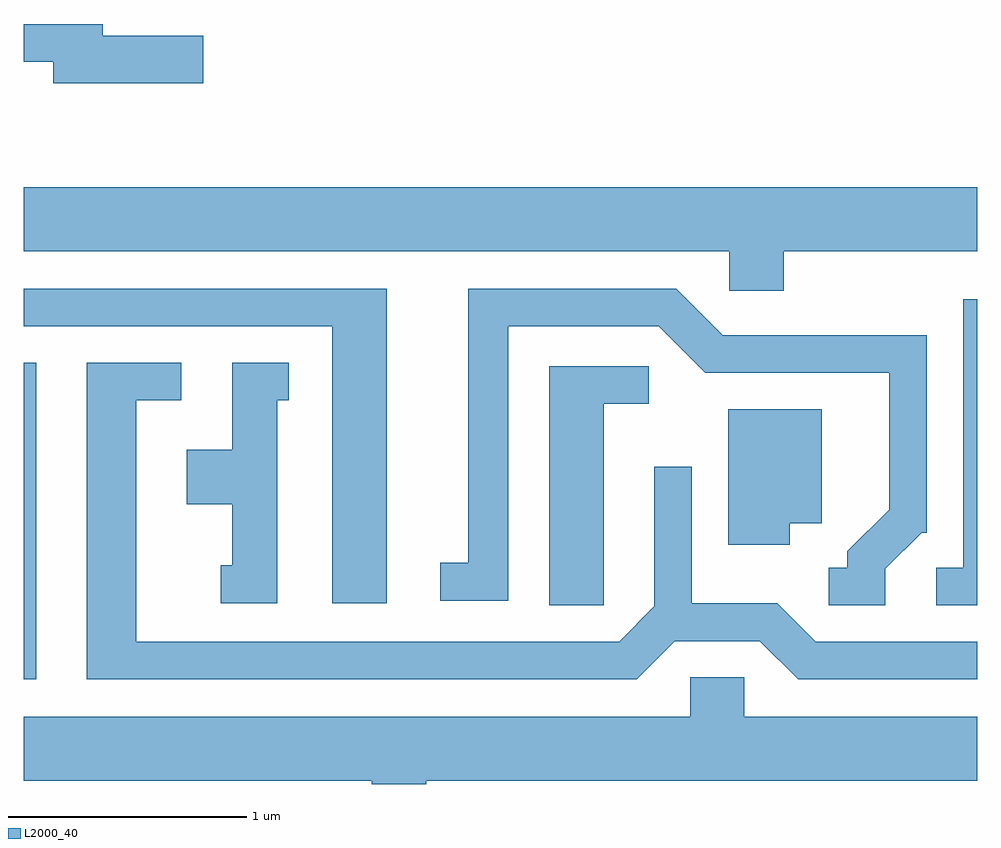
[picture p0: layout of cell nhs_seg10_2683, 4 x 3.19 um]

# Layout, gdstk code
import gdstk
lib = gdstk.Library(unit=1e-6, precision=1e-09)
def R(c, l, rs):  # rectangles x0, y0, x1, y1
    for r in rs: c.add(gdstk.rectangle(r[:2], r[2:], *l))
def P(c, l, *ps):  # polygons
    for p in ps: c.add(gdstk.Polygon(p, *l))
L2000_40 = (2000, 40)

nhs_seg10_2683 = lib.new_cell('nhs_seg10_2683')
R(nhs_seg10_2683, L2000_40, [(263.611,2160.961,263.664,2162.289)])
P(nhs_seg10_2683, L2000_40, [(264.364,2163.659),(263.944,2163.659),(263.944,2163.709),(263.611,2163.709),(263.611,2163.551),(263.736,2163.551),(263.736,2163.461),(264.364,2163.461)],
  [(266.799,2162.756),(267.611,2162.756),(267.611,2163.024),(263.611,2163.024),(263.611,2162.756),(266.571,2162.756),(266.571,2162.591),(266.799,2162.591)],
  [(267.224,2161.424),(267.377,2161.576),(267.399,2161.576),(267.399,2162.404),(266.542,2162.404),(266.347,2162.599),(265.476,2162.599),(265.476,2161.449),(265.358,2161.449),(265.358,2161.291),(265.644,2161.291),(265.644,2162.441),(266.274,2162.441),(266.469,2162.246),(267.241,2162.246),(267.241,2161.672),(267.066,2161.497),(267.066,2161.429),(266.988,2161.429),(266.988,2161.271),(267.224,2161.271)],
  [(265.134,2162.599),(263.611,2162.599),(263.611,2162.441),(264.906,2162.441),(264.906,2161.281),(265.134,2161.281)],
  [(267.611,2162.554),(267.551,2162.554),(267.551,2161.429),(267.438,2161.429),(267.438,2161.271),(267.611,2161.271)],
  [(266.342,2161.121),(266.699,2161.121),(266.859,2160.961),(267.611,2160.961),(267.611,2161.119),(266.932,2161.119),(266.772,2161.279),(266.414,2161.279),(266.414,2161.853),(266.256,2161.853),(266.256,2161.267),(266.109,2161.119),(264.084,2161.119),(264.084,2162.131),(264.273,2162.131),(264.273,2162.289),(263.876,2162.289),(263.876,2160.961),(266.182,2160.961)],
  [(264.674,2162.131),(264.723,2162.131),(264.723,2162.289),(264.486,2162.289),(264.486,2161.924),(264.296,2161.924),(264.296,2161.696),(264.486,2161.696),(264.486,2161.439),(264.438,2161.439),(264.438,2161.281),(264.674,2161.281)],
  [(266.044,2162.116),(266.233,2162.116),(266.233,2162.274),(265.816,2162.274),(265.816,2161.271),(266.044,2161.271)],
  [(266.824,2161.616),(266.959,2161.616),(266.959,2162.094),(266.566,2162.094),(266.566,2161.526),(266.824,2161.526)],
  [(265.299,2160.536),(267.611,2160.536),(267.611,2160.804),(266.634,2160.804),(266.634,2160.969),(266.406,2160.969),(266.406,2160.804),(263.611,2160.804),(263.611,2160.536),(265.071,2160.536),(265.071,2160.522),(265.299,2160.522)])

lib.write_gds('nhs_seg10_2683.gds')
